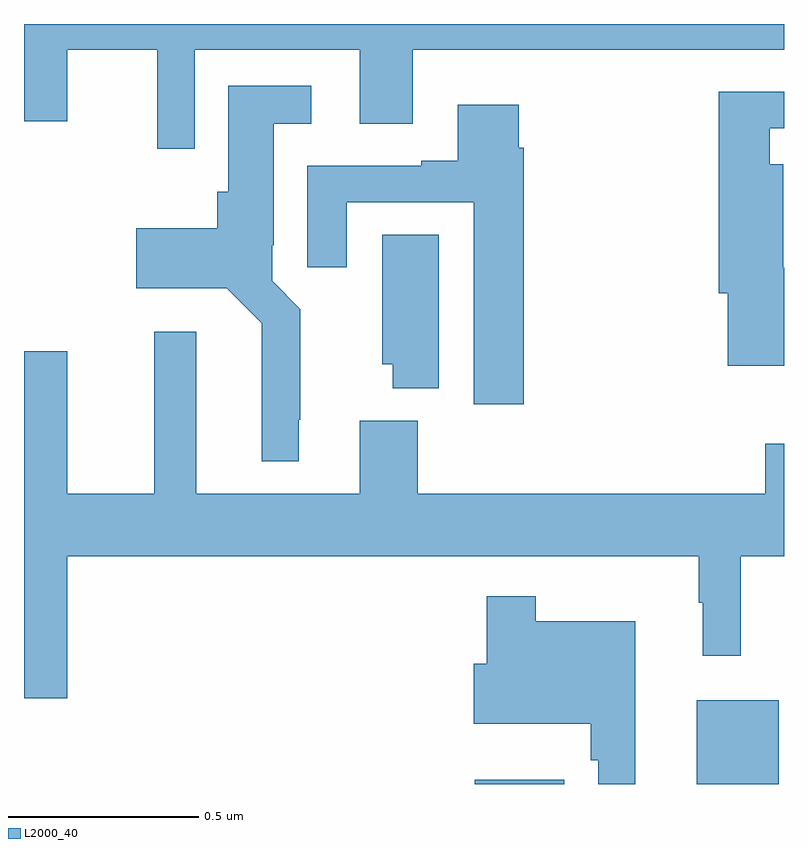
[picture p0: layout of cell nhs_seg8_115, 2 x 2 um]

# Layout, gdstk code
import gdstk
lib = gdstk.Library(unit=1e-6, precision=1e-09)
def R(c, l, rs):  # rectangles x0, y0, x1, y1
    for r in rs: c.add(gdstk.rectangle(r[:2], r[2:], *l))
def P(c, l, *ps):  # polygons
    for p in ps: c.add(gdstk.Polygon(p, *l))
L2000_40 = (2000, 40)

nhs_seg8_115 = lib.new_cell('nhs_seg8_115')
R(nhs_seg8_115, L2000_40, [(113.186,1115.9,113.422,1115.911), (113.771,1115.9,113.986,1116.121)])
P(nhs_seg8_115, L2000_40, [(112.449,1117.832),(112.883,1117.832),(112.883,1117.638),(113.023,1117.638),(113.023,1117.832),(114,1117.832),(114,1117.9),(112,1117.9),(112,1117.644),(112.114,1117.644),(112.114,1117.832),(112.351,1117.832),(112.351,1117.572),(112.449,1117.572)],
  [(112.723,1116.859),(112.727,1116.859),(112.727,1117.15),(112.653,1117.224),(112.653,1117.318),(112.657,1117.318),(112.657,1117.637),(112.756,1117.637),(112.756,1117.738),(112.538,1117.738),(112.538,1117.458),(112.508,1117.458),(112.508,1117.363),(112.296,1117.363),(112.296,1117.205),(112.533,1117.205),(112.626,1117.112),(112.626,1117.01),(112.625,1117.01),(112.625,1116.749),(112.723,1116.749)],
  [(114,1117.258),(113.998,1117.258),(113.998,1117.531),(113.962,1117.531),(113.962,1117.626),(114,1117.626),(114,1117.722),(113.828,1117.722),(113.828,1117.191),(113.852,1117.191),(113.852,1117.001),(114,1117.001)],
  [(113.315,1117.574),(113.302,1117.574),(113.302,1117.687),(113.141,1117.687),(113.141,1117.54),(113.045,1117.54),(113.045,1117.527),(112.745,1117.527),(112.745,1117.26),(112.849,1117.26),(112.849,1117.431),(113.183,1117.431),(113.183,1116.9),(113.315,1116.9)],
  [(113.092,1117.346),(112.943,1117.346),(112.943,1117.005),(112.97,1117.005),(112.97,1116.941),(113.092,1116.941)],
  [(112.114,1116.5),(113.775,1116.5),(113.775,1116.377),(113.786,1116.377),(113.786,1116.237),(113.886,1116.237),(113.886,1116.5),(114,1116.5),(114,1116.796),(113.951,1116.796),(113.951,1116.664),(113.036,1116.664),(113.036,1116.856),(112.883,1116.856),(112.883,1116.664),(112.453,1116.664),(112.453,1117.09),(112.343,1117.09),(112.343,1116.664),(112.114,1116.664),(112.114,1117.039),(112,1117.039),(112,1116.126),(112.114,1116.126)],
  [(113.608,1116.328),(113.347,1116.328),(113.347,1116.394),(113.218,1116.394),(113.218,1116.217),(113.184,1116.217),(113.184,1116.059),(113.491,1116.059),(113.491,1115.963),(113.511,1115.963),(113.511,1115.9),(113.608,1115.9)])

lib.write_gds('nhs_seg8_115.gds')
